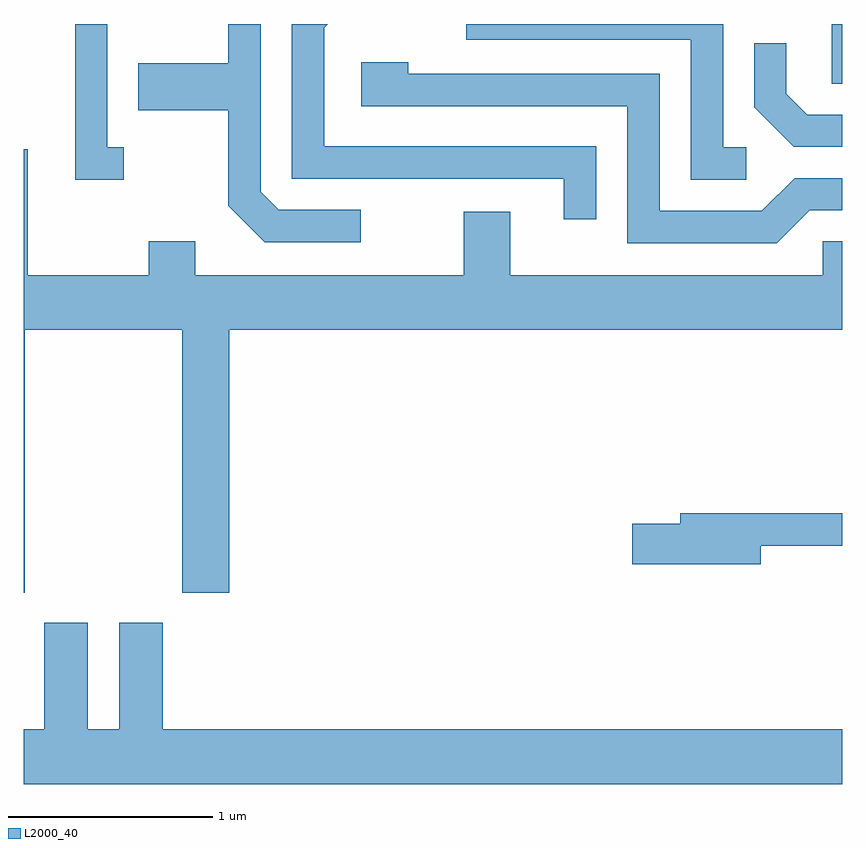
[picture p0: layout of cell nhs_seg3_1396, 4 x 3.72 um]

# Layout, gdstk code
import gdstk
lib = gdstk.Library(unit=1e-6, precision=1e-09)
def R(c, l, rs):  # rectangles x0, y0, x1, y1
    for r in rs: c.add(gdstk.rectangle(r[:2], r[2:], *l))
def P(c, l, *ps):  # polygons
    for p in ps: c.add(gdstk.Polygon(p, *l))
L2000_40 = (2000, 40)

nhs_seg3_1396 = lib.new_cell('nhs_seg3_1396')
R(nhs_seg3_1396, L2000_40, [(229.561,1191.601,229.611,1191.892)])
P(nhs_seg3_1396, L2000_40, [(227.258,1190.984),(226.857,1190.984),(226.769,1191.072),(226.769,1191.892),(226.611,1191.892),(226.611,1191.699),(226.171,1191.699),(226.171,1191.471),(226.611,1191.471),(226.611,1191.004),(226.789,1190.826),(227.258,1190.826)],
  [(226.098,1191.289),(226.019,1191.289),(226.019,1191.892),(225.861,1191.892),(225.861,1191.131),(226.098,1191.131)],
  [(229.143,1191.289),(229.029,1191.289),(229.029,1191.892),(227.773,1191.892),(227.773,1191.816),(228.871,1191.816),(228.871,1191.131),(229.143,1191.131)],
  [(228.409,1191.294),(227.079,1191.294),(227.079,1191.874),(227.097,1191.892),(226.921,1191.892),(226.921,1191.136),(228.251,1191.136),(228.251,1190.938),(228.409,1190.938)],
  [(229.611,1191.449),(229.442,1191.449),(229.339,1191.552),(229.339,1191.798),(229.181,1191.798),(229.181,1191.484),(229.374,1191.291),(229.611,1191.291)],
  [(229.452,1190.981),(229.611,1190.981),(229.611,1191.139),(229.379,1191.139),(229.219,1190.979),(228.719,1190.979),(228.719,1191.649),(227.489,1191.649),(227.489,1191.704),(227.261,1191.704),(227.261,1191.491),(228.561,1191.491),(228.561,1190.821),(229.292,1190.821)],
  [(225.614,1190.396),(226.386,1190.396),(226.386,1189.111),(226.614,1189.111),(226.614,1190.396),(229.611,1190.396),(229.611,1190.829),(229.516,1190.829),(229.516,1190.664),(227.989,1190.664),(227.989,1190.974),(227.761,1190.974),(227.761,1190.664),(226.449,1190.664),(226.449,1190.829),(226.221,1190.829),(226.221,1190.664),(225.629,1190.664),(225.629,1191.279),(225.611,1191.279),(225.611,1189.111),(225.614,1189.111)],
  [(229.214,1189.341),(229.611,1189.341),(229.611,1189.499),(228.821,1189.499),(228.821,1189.449),(228.586,1189.449),(228.586,1189.251),(229.214,1189.251)],
  [(229.611,1188.444),(226.289,1188.444),(226.289,1188.964),(226.076,1188.964),(226.076,1188.444),(225.924,1188.444),(225.924,1188.964),(225.711,1188.964),(225.711,1188.444),(225.611,1188.444),(225.611,1188.176),(229.611,1188.176)])

lib.write_gds('nhs_seg3_1396.gds')
